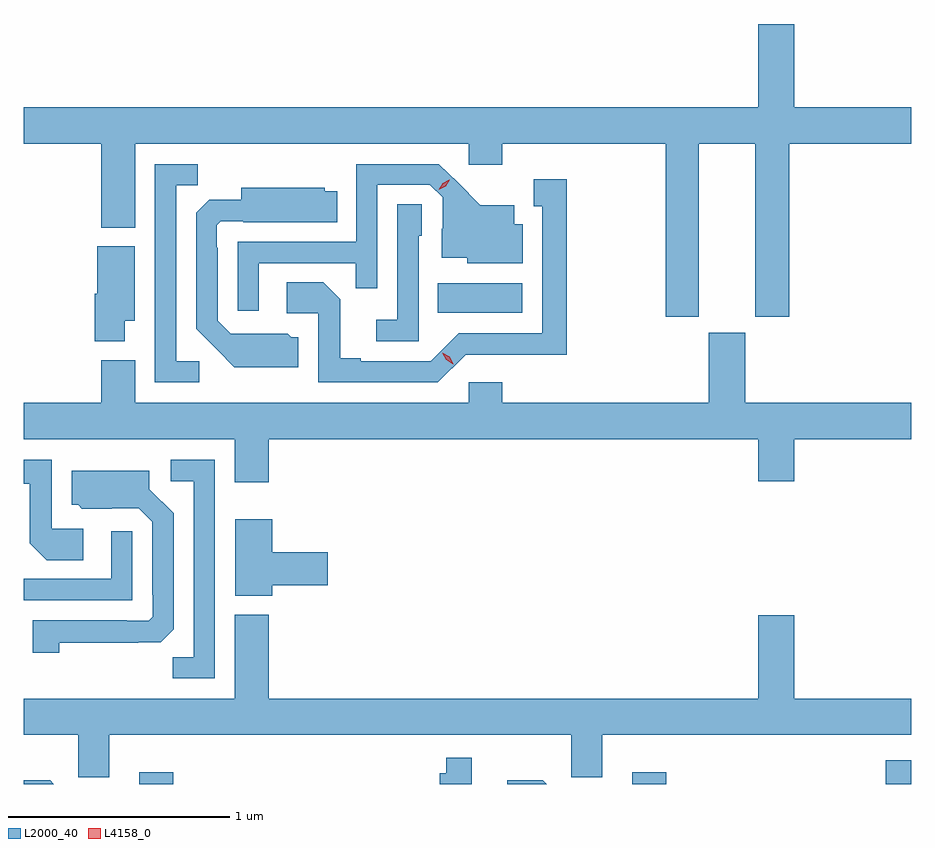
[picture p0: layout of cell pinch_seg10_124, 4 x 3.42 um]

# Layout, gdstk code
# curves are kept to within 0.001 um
import gdstk
lib = gdstk.Library(unit=1e-6, precision=1e-09)
def R(c, l, rs):  # rectangles x0, y0, x1, y1
    for r in rs: c.add(gdstk.rectangle(r[:2], r[2:], *l))
def P(c, l, *ps):  # polygons
    for p in ps: c.add(gdstk.Polygon(p, *l))
L2000_40 = (2000, 40)
L4158_0 = (4158, 0)

pinch_seg10_124 = lib.new_cell('pinch_seg10_124')
R(pinch_seg10_124, L2000_40, [(713.669,1281.447,713.822,1281.499), (715.889,1281.447,716.042,1281.499), (717.032,1281.447,717.147,1281.553), (715.012,1283.57,715.393,1283.704)])
P(pinch_seg10_124, L2000_40, [(713.147,1284.332),(713.498,1284.332),(713.498,1283.954),(713.65,1283.954),(713.65,1284.332),(715.152,1284.332),(715.152,1284.237),(715.304,1284.237),(715.304,1284.332),(716.041,1284.332),(716.041,1283.553),(716.188,1283.553),(716.188,1284.332),(716.444,1284.332),(716.444,1283.553),(716.597,1283.553),(716.597,1284.332),(717.147,1284.332),(717.147,1284.496),(716.62,1284.496),(716.62,1284.871),(716.456,1284.871),(716.456,1284.496),(713.147,1284.496)],
  [(713.938,1283.352),(713.835,1283.352),(713.835,1284.145),(713.931,1284.145),(713.931,1284.24),(713.739,1284.24),(713.739,1283.256),(713.938,1283.256)],
  [(714.207,1283.793),(714.643,1283.793),(714.643,1283.68),(714.741,1283.68),(714.741,1284.147),(714.978,1284.147),(715.035,1284.09),(715.035,1283.948),(715.031,1283.948),(715.031,1283.819),(715.146,1283.819),(715.146,1283.792),(715.396,1283.792),(715.396,1283.968),(715.357,1283.968),(715.357,1284.055),(715.205,1284.055),(715.018,1284.24),(714.645,1284.24),(714.645,1283.889),(714.111,1283.889),(714.111,1283.58),(714.207,1283.58)],
  [(715.14,1283.382),(715.595,1283.381),(715.595,1284.172),(715.445,1284.172),(715.445,1284.051),(715.484,1284.051),(715.484,1283.478),(715.107,1283.478),(714.981,1283.352),(714.667,1283.352),(714.667,1283.365),(714.573,1283.365),(714.573,1283.632),(714.497,1283.708),(714.333,1283.708),(714.333,1283.568),(714.474,1283.568),(714.474,1283.256),(715.014,1283.256)],
  [(714.385,1283.46),(714.354,1283.46),(714.338,1283.476),(714.081,1283.475),(714.021,1283.535),(714.021,1283.864),(714.018,1283.864),(714.018,1283.964),(714.036,1283.982),(714.136,1283.982),(714.136,1283.978),(714.56,1283.978),(714.56,1284.118),(714.504,1284.118),(714.504,1284.133),(714.128,1284.133),(714.128,1284.079),(713.984,1284.079),(713.925,1284.02),(713.925,1283.498),(714.097,1283.324),(714.385,1283.324)],
  [(714.927,1283.916),(714.942,1283.916),(714.942,1284.059),(714.831,1284.059),(714.831,1283.539),(714.735,1283.539),(714.735,1283.442),(714.927,1283.442)],
  [(713.602,1283.534),(713.647,1283.534),(713.647,1283.869),(713.48,1283.869),(713.48,1283.655),(713.468,1283.655),(713.468,1283.441),(713.602,1283.441)],
  [(714.251,1283),(716.456,1283),(716.456,1282.812),(716.62,1282.812),(716.62,1283),(717.147,1283),(717.147,1283.164),(716.398,1283.164),(716.398,1283.481),(716.234,1283.481),(716.234,1283.164),(715.304,1283.164),(715.304,1283.257),(715.152,1283.257),(715.152,1283.164),(713.65,1283.164),(713.65,1283.356),(713.498,1283.356),(713.498,1283.164),(713.147,1283.164),(713.147,1283),(714.098,1283),(714.098,1282.806),(714.251,1282.806)],
  [(713.416,1282.596),(713.274,1282.596),(713.274,1282.908),(713.147,1282.908),(713.147,1282.8),(713.175,1282.8),(713.175,1282.532),(713.251,1282.456),(713.416,1282.456)],
  [(714.009,1282.908),(713.811,1282.908),(713.811,1282.812),(713.913,1282.812),(713.913,1282.019),(713.818,1282.019),(713.818,1281.924),(714.009,1281.924)],
  [(713.307,1282.084),(713.764,1282.085),(713.823,1282.144),(713.823,1282.666),(713.713,1282.776),(713.713,1282.858),(713.363,1282.858),(713.363,1282.704),(713.394,1282.704),(713.41,1282.688),(713.667,1282.689),(713.727,1282.629),(713.727,1282.3),(713.73,1282.3),(713.73,1282.2),(713.712,1282.182),(713.612,1282.182),(713.612,1282.185),(713.188,1282.185),(713.188,1282.038),(713.307,1282.038)],
  [(714.268,1282.343),(714.517,1282.343),(714.517,1282.49),(714.268,1282.49),(714.268,1282.639),(714.101,1282.639),(714.101,1282.295),(714.268,1282.295)],
  [(713.637,1282.585),(713.541,1282.585),(713.541,1282.371),(713.147,1282.371),(713.147,1282.275),(713.637,1282.275)],
  [(713.533,1281.668),(715.614,1281.668),(715.614,1281.478),(715.753,1281.478),(715.753,1281.668),(717.147,1281.668),(717.147,1281.832),(716.62,1281.832),(716.62,1282.207),(716.456,1282.207),(716.456,1281.832),(714.251,1281.832),(714.251,1282.21),(714.098,1282.21),(714.098,1281.832),(713.147,1281.832),(713.147,1281.668),(713.394,1281.668),(713.394,1281.478),(713.533,1281.478)],
  [(715.167,1281.565),(715.051,1281.565),(715.051,1281.496),(715.022,1281.496),(715.022,1281.447),(715.167,1281.447)],
  [(713.267,1281.463),(713.147,1281.463),(713.147,1281.447),(713.283,1281.447)],
  [(715.487,1281.463),(715.326,1281.463),(715.326,1281.447),(715.503,1281.447)])
P(pinch_seg10_124, L4158_0, [(715.082,1283.339),(715.051,1283.358),(715.034,1283.391),(715.034,1283.391),(715.034,1283.391),(715.066,1283.372),(715.083,1283.34),(715.083,1283.339)],
  [(715.017,1284.124),(715.017,1284.124),(715.035,1284.154),(715.065,1284.169),(715.066,1284.169),(715.066,1284.169),(715.048,1284.139),(715.018,1284.124)])

lib.write_gds('pinch_seg10_124.gds')
